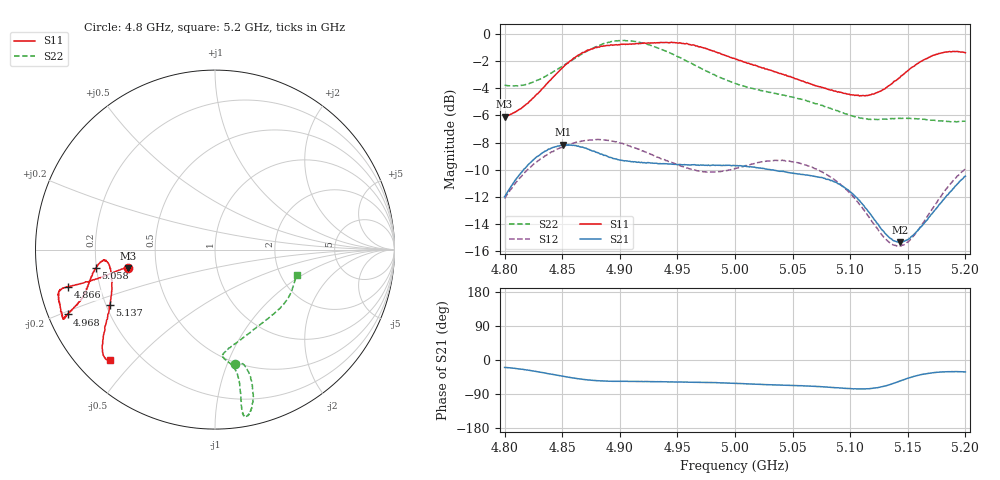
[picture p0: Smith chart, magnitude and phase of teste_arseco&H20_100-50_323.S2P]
! Network Analyzer HP8722D
! Hewlett-Packard
! Data name: Linha & Wilkinson
! Saver's name: Rodrigo Anjos
! Comments: Teste da utilização de aquisição
! continua pelo VNA HP8722D
! Time and date: 6/5/2025 15:15
!  Frequency  S11  S21  S12  S22
# HZ  S  MA R 50
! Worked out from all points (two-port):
!   401 points, 4.8 GHz to 5.2 GHz, reference 50 ohm
!   highest |S21| = -8.16 dB at 4.851 GHz (marker M1); lowest = -15.3 dB at 5.143 GHz (marker M2)
!   |S21| within 3 dB of the highest: 4.806 GHz to 5.092 GHz (286.2 MHz wide, 5.78 % of centre); 5.191768 GHz to end of sweep
!   lowest |S11| = -6.1 dB at 4.8 GHz (marker M3), VSWR 2.97, Z = 17 - j4.59 ohm
!   |S11| at or under -10 dB: nowhere
!   |S22| runs from -6.5 to -0.5 dB; largest |S21 - S12| = 0.62
!   S11 on the Smith chart (normalised r, x): 4.8 GHz: 0.34, -0.09; 4.866 GHz: 0.09, -0.12; 4.968 GHz: 0.06, -0.21; 5.058 GHz: 0.20, -0.07; 5.137 GHz: 0.22, -0.24; 5.2 GHz: 0.09, -0.43
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4.8e9  0.4965 -168.2  0.2519 -19.6  0.2479 -140.8  0.6482 -80.3
4.823e9  0.5702 -167.5  0.3378 -28.0  0.3249 -143.6  0.6603 -75.9
4.851e9  0.7554 -165.8  0.3908 -43.3  0.3847 -149.2  0.7652 -74.5
4.866e9  0.8436 -165.7  0.3836 -50.2  0.4021 -151.7  0.8375 -75.3
4.867e9  0.85 -166.0  0.3833 -50.8  0.4033 -152.0  0.843 -75.4
4.883e9  0.8972 -165.1  0.361 -55.0  0.4084 -154.7  0.9093 -77.0
4.899e9  0.9122 -162.8  0.3441 -56.3  0.3985 -156.6  0.944 -79.1
4.934e9  0.9278 -156.3  0.333 -57.5  0.3505 -155.5  0.8833 -80.4
4.968e9  0.8977 -156.2  0.3291 -59.1  0.3134 -147.6  0.7554 -79.6
5e9  0.8095 -159.0  0.3275 -61.8  0.3198 -137.2  0.6572 -81.2
5.034e9  0.7261 -165.2  0.3149 -65.7  0.3423 -134.3  0.6045 -85.6
5.058e9  0.6707 -171.2  0.3041 -68.0  0.332 -136.0  0.5738 -84.5
5.067e9  0.6515 -173.1  0.3002 -69.0  0.3234 -136.7  0.5589 -82.5
5.082e9  0.6219 -174.7  0.2907 -71.8  0.2995 -138.2  0.533 -77.1
5.101e9  0.5967 -172.0  0.2606 -75.8  0.2558 -138.8  0.5001 -66.6
5.116e9  0.5948 -165.5  0.2214 -75.9  0.2129 -135.5  0.4844 -55.7
5.134e9  0.6459 -154.3  0.178 -65.3  0.171 -120.7  0.4861 -43.3
5.137e9  0.6604 -152.4  0.174 -62.3  0.1677 -116.9  0.4883 -41.5
5.143e9  0.6897 -149.2  0.1709 -55.7  0.1659 -109.1  0.4883 -38.0
5.154e9  0.7555 -144.3  0.1808 -44.7  0.1788 -95.0  0.4883 -32.3
5.172e9  0.8336 -138.9  0.2207 -33.5  0.2298 -81.1  0.481 -24.6
5.2e9  0.8521 -133.6  0.2996 -31.4  0.3188 -76.9  0.4775 -17.5
